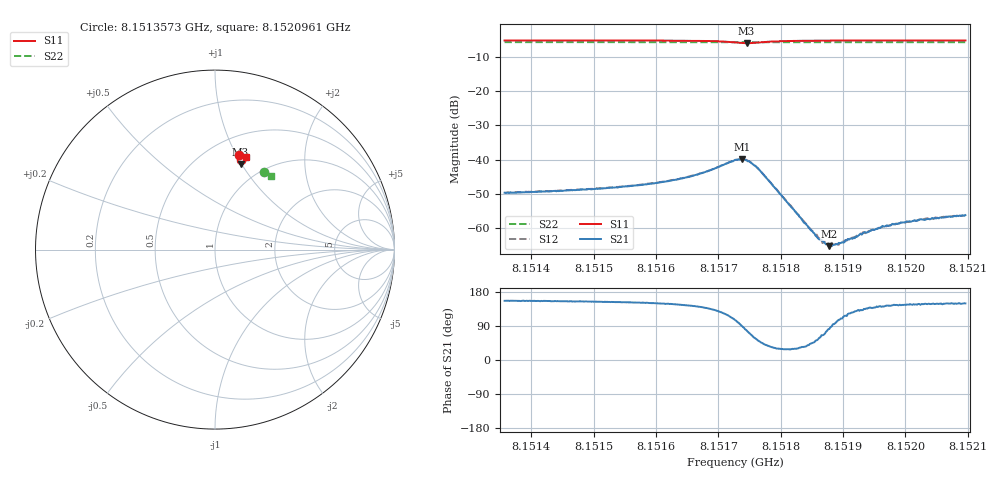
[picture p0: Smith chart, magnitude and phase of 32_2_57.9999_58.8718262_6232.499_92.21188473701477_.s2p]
#  HZ  S  RI  R  50.00
! Rohde & Schwarz Vector Network Analyzer
! Rohde-Schwarz,ZNB20-2Port,1311601062101988,3.16
! Created: UTC 3/21/2024, 12:51:43 AM
! freq[Hz]  re:S11  im:S11  re:S21  im:S21  re:S12  im:S12  re:S22  im:S22
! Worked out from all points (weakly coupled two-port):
!   401 points, 8.1513573 GHz to 8.1520961 GHz, reference 50 ohm
!   highest |S21| = -39.79 dB at 8.1517378 GHz (marker M1); lowest = -65.2 dB at 8.1518782 GHz (marker M2)
!   lowest |S11| = -6.1 dB at 8.1517452 GHz (marker M3), VSWR 2.98, Z = 39.1 + j49.5 ohm
!   |S11| at or under -10 dB: nowhere
!   |S22| runs from -5.8 to -5.8 dB; largest |S21 - S12| = 0.00027
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8.15135734e9  0.1318 0.5276  -0.00301 0.00133  -0.00302 0.00132  0.2737 0.4351
8.15148109e9  0.1421 0.5248  -0.0033 0.00157  -0.00332 0.00164  0.2804 0.4306
8.1515365e9  0.1471 0.5231  -0.00351 0.0018  -0.00352 0.00189  0.2832 0.4285
8.15160484e9  0.1548 0.5198  -0.00398 0.00235  -0.00398 0.00242  0.2871 0.4258
8.15166394e9  0.1635 0.5131  -0.0047 0.00371  -0.00467 0.00379  0.2901 0.4234
8.15172674e9  0.1637 0.4819  -0.00265 0.00955  -0.00251 0.0095  0.293 0.4201
8.15173782e9  0.1521 0.4758  0.000106 0.0102  0.000138 0.0102  0.2929 0.4195
8.15174521e9  0.1422 0.4762  0.00198 0.00959  0.00217 0.00967  0.293 0.4195
8.1517526e9  0.1337 0.4809  0.00362 0.00822  0.00373 0.00829  0.2933 0.4196
8.15176368e9  0.1271 0.4919  0.00468 0.0058  0.00465 0.00575  0.2936 0.4196
8.15185049e9  0.147 0.5195  0.000652 0.000636  0.000674 0.000624  0.2991 0.417
8.15185972e9  0.1486 0.5197  0.000417 0.00058  0.000419 0.000602  0.2997 0.4168
8.15186526e9  0.1496 0.5197  0.000281 0.000607  0.000327 0.000591  0.3001 0.4166
8.15187819e9  0.1514 0.5199  7.37e-05 0.000543  8.49e-05 0.000579  0.3006 0.4159
8.15188927e9  0.1532 0.5198  -0.000106 0.000579  -0.000105 0.000581  0.3013 0.4156
8.15189481e9  0.1538 0.5199  -0.000178 0.000581  -0.000159 0.000587  0.3016 0.4154
8.15191882e9  0.157 0.5195  -0.000444 0.000562  -0.000442 0.000605  0.3029 0.4145
8.15192991e9  0.1581 0.5194  -0.000533 0.000605  -0.000531 0.000633  0.3035 0.414
8.15196685e9  0.162 0.5189  -0.000837 0.000653  -0.000839 0.000622  0.3053 0.4125
8.15197424e9  0.1627 0.5188  -0.000876 0.00065  -0.000859 0.000689  0.3057 0.4122
8.15203149e9  0.1678 0.5175  -0.00112 0.000688  -0.00116 0.000748  0.3087 0.4101
8.15209614e9  0.1731 0.5162  -0.00134 0.000791  -0.00132 0.000812  0.312 0.4074
